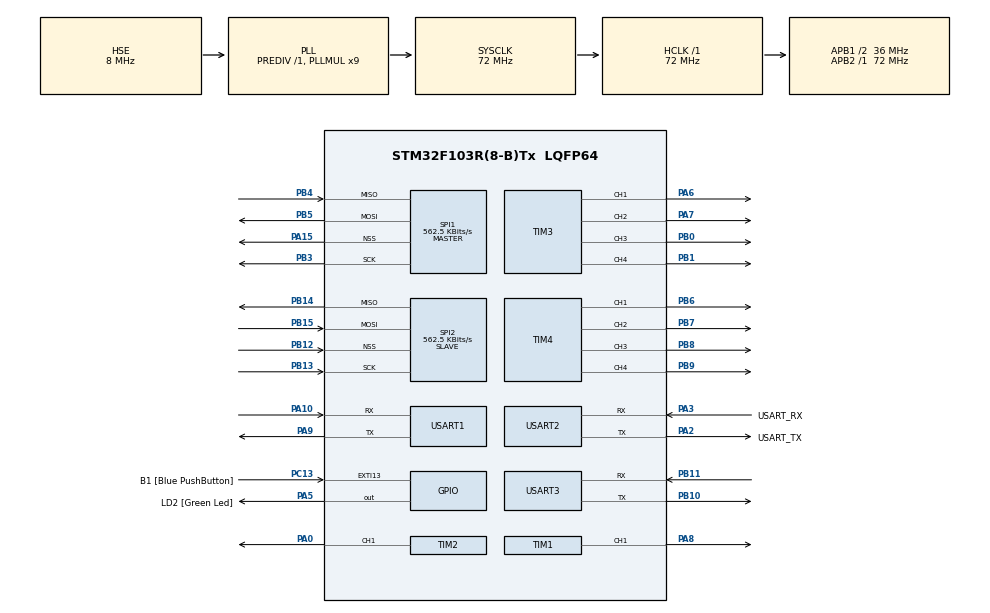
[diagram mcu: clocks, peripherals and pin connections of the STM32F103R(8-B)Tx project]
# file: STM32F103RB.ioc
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IWDG.Prescaler=IWDG_PRESCALER_32
Mcu.Family=STM32F1
Mcu.Name=STM32F103R(8-B)Tx
Mcu.Package=LQFP64
NVIC.PriorityGroup=NVIC_PRIORITYGROUP_4
NVIC.USART2_IRQn=true\:0\:0\:false\:false\:true\:true
PA0-WKUP.Signal=S_TIM2_CH1_ETR
PA10.Mode=Asynchronous
PA10.Signal=USART1_RX
PA13.GPIO_Label=TMS
PA13.Mode=Serial_Wire
PA13.Signal=SYS_JTMS-SWDIO
PA14.GPIO_Label=TCK
PA14.Mode=Serial_Wire
PA14.Signal=SYS_JTCK-SWCLK
PA15.Mode=NSS_Signal_Hard_Output
PA15.Signal=SPI1_NSS
PA2.GPIO_Label=USART_TX
PA2.GPIO_Mode=GPIO_MODE_AF_PP
PA2.GPIO_PuPd=GPIO_NOPULL
PA2.GPIO_Speed=GPIO_SPEED_FREQ_LOW
PA2.Mode=Asynchronous
PA2.Signal=USART2_TX
PA3.GPIO_Label=USART_RX
PA3.GPIO_Mode=GPIO_MODE_AF_PP
PA3.GPIO_PuPd=GPIO_NOPULL
PA3.GPIO_Speed=GPIO_SPEED_FREQ_LOW
PA3.Mode=Asynchronous
PA3.Signal=USART2_RX
PA5.GPIO_Label=LD2 [Green Led]
PA5.GPIO_ModeDefaultOutputPP=GPIO_MODE_OUTPUT_PP
PA5.GPIO_PuPd=GPIO_NOPULL
PA5.GPIO_Speed=GPIO_SPEED_FREQ_LOW
PA5.Signal=GPIO_Output
PA6.Signal=S_TIM3_CH1
PA7.Signal=S_TIM3_CH2
PA8.Signal=S_TIM1_CH1
PA9.Mode=Asynchronous
PA9.Signal=USART1_TX
PB0.Signal=S_TIM3_CH3
PB1.Signal=S_TIM3_CH4
PB10.Mode=Asynchronous
PB10.Signal=USART3_TX
PB11.Mode=Asynchronous
PB11.Signal=USART3_RX
PB12.Mode=NSS_Signal_Hard_Input
PB12.Signal=SPI2_NSS
PB13.Mode=Full_Duplex_Slave
PB13.Signal=SPI2_SCK
PB14.Mode=Full_Duplex_Slave
PB14.Signal=SPI2_MISO
PB15.Mode=Full_Duplex_Slave
PB15.Signal=SPI2_MOSI
PB3.Mode=Full_Duplex_Master
PB3.Signal=SPI1_SCK
PB4.Mode=Full_Duplex_Master
PB4.Signal=SPI1_MISO
PB5.Mode=Full_Duplex_Master
PB5.Signal=SPI1_MOSI
PB6.Signal=S_TIM4_CH1
PB7.Signal=S_TIM4_CH2
PB8.Signal=S_TIM4_CH3
PB9.Signal=S_TIM4_CH4
PC13-TAMPER-RTC.GPIO_Label=B1 [Blue PushButton]
PC13-TAMPER-RTC.GPIO_PuPd=GPIO_NOPULL
PC13-TAMPER-RTC.Signal=GPXTI13
PC14-OSC32_IN.Mode=LSE-External-Oscillator
PC14-OSC32_IN.Signal=RCC_OSC32_IN
PC15-OSC32_OUT.Mode=LSE-External-Oscillator
PC15-OSC32_OUT.Signal=RCC_OSC32_OUT
PD0-OSC_IN.Mode=HSE-External-Clock-Source
PD0-OSC_IN.Signal=RCC_OSC_IN
PD1-OSC_OUT.Mode=HSE-External-Clock-Source
PD1-OSC_OUT.Signal=RCC_OSC_OUT
ProjectManager.HeapSize=0x200
ProjectManager.StackSize=0x400
ProjectManager.TargetToolchain=MDK-ARM V5
RCC.AHBFreq_Value=72000000
RCC.APB1CLKDivider=RCC_HCLK_DIV2
RCC.APB1Freq_Value=36000000
RCC.APB1TimFreq_Value=72000000
RCC.APB2Freq_Value=72000000
RCC.APB2TimFreq_Value=72000000
RCC.HCLKFreq_Value=72000000
RCC.PLLMUL=RCC_PLL_MUL9
RCC.PLLSourceVirtual=RCC_PLLSOURCE_HSE
RCC.RTCClockSelection=RCC_RTCCLKSOURCE_LSE
RCC.SYSCLKFreq_VALUE=72000000
RCC.SYSCLKSource=RCC_SYSCLKSOURCE_PLLCLK
RCC.USBFreq_Value=72000000
SH.S_TIM1_CH1.0=TIM1_CH1,PWM Generation1 CH1
SH.S_TIM2_CH1_ETR.0=TIM2_CH1,PWM Generation1 CH1
SH.S_TIM3_CH1.0=TIM3_CH1,PWM Generation1 CH1
SH.S_TIM3_CH2.0=TIM3_CH2,PWM Generation2 CH2
SH.S_TIM3_CH3.0=TIM3_CH3,PWM Generation3 CH3
SH.S_TIM3_CH4.0=TIM3_CH4,PWM Generation4 CH4
SH.S_TIM4_CH1.0=TIM4_CH1,PWM Generation1 CH1
SH.S_TIM4_CH2.0=TIM4_CH2,PWM Generation2 CH2
SH.S_TIM4_CH3.0=TIM4_CH3,PWM Generation3 CH3
SH.S_TIM4_CH4.0=TIM4_CH4,PWM Generation4 CH4
SPI1.BaudRatePrescaler=SPI_BAUDRATEPRESCALER_128
SPI1.CalculateBaudRate=562.5 KBits/s
SPI1.Direction=SPI_DIRECTION_2LINES
SPI1.Mode=SPI_MODE_MASTER
SPI1.VirtualNSS=VM_NSSHARD
SPI1.VirtualType=VM_MASTER
SPI2.BaudRatePrescaler=SPI_BAUDRATEPRESCALER_64
SPI2.CalculateBaudRate=562.5 KBits/s
SPI2.Direction=SPI_DIRECTION_2LINES
SPI2.Mode=SPI_MODE_SLAVE
SPI2.VirtualNSS=VM_NSSHARD
SPI2.VirtualType=VM_SLAVE
TIM1.Channel-PWM\ Generation1\ CH1=TIM_CHANNEL_1
TIM1.Period=282
TIM1.Prescaler=256
TIM2.Channel-PWM\ Generation1\ CH1=TIM_CHANNEL_1
TIM2.Period=282
TIM2.Prescaler=256
TIM3.Channel-PWM\ Generation1\ CH1=TIM_CHANNEL_1
TIM3.Channel-PWM\ Generation2\ CH2=TIM_CHANNEL_2
TIM3.Channel-PWM\ Generation3\ CH3=TIM_CHANNEL_3
TIM3.Channel-PWM\ Generation4\ CH4=TIM_CHANNEL_4
TIM4.Channel-PWM\ Generation1\ CH1=TIM_CHANNEL_1
TIM4.Channel-PWM\ Generation2\ CH2=TIM_CHANNEL_2
TIM4.Channel-PWM\ Generation3\ CH3=TIM_CHANNEL_3
TIM4.Channel-PWM\ Generation4\ CH4=TIM_CHANNEL_4
USART1.VirtualMode=VM_ASYNC
USART2.VirtualMode=VM_ASYNC
USART3.VirtualMode=VM_ASYNC
VP_IWDG_VS_IWDG.Mode=IWDG_Activate
board=NUCLEO-F103RB

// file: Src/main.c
/**
  ******************************************************************************
  * @file           : main.c
  * @brief          : Main program body
  ******************************************************************************
  ** This notice applies to any and all portions of this file
  * that are not between comment pairs USER CODE BEGIN and
  * USER CODE END. Other portions of this file, whether
  * inserted by the user or by software development tools
  * are owned by their respective copyright owners.
  *
  * COPYRIGHT(c) 2018 STMicroelectronics
  *
  * Redistribution and use in source and binary forms, with or without modification,
  * are permitted provided that the following conditions are met:
  *   1. Redistributions of source code must retain the above copyright notice,
  *      this list of conditions and the following disclaimer.
  *   2. Redistributions in binary form must reproduce the above copyright notice,
  *      this list of conditions and the following disclaimer in the documentation
  *      and/or other materials provided with the distribution.
  *   3. Neither the name of STMicroelectronics nor the names of its contributors
  *      may be used to endorse or promote products derived from this software
  *      without specific prior written permission.
  *
  * THIS SOFTWARE IS PROVIDED BY THE COPYRIGHT HOLDERS AND CONTRIBUTORS "AS IS"
  * AND ANY EXPRESS OR IMPLIED WARRANTIES, INCLUDING, BUT NOT LIMITED TO, THE
  * IMPLIED WARRANTIES OF MERCHANTABILITY AND FITNESS FOR A PARTICULAR PURPOSE ARE
  * DISCLAIMED. IN NO EVENT SHALL THE COPYRIGHT HOLDER OR CONTRIBUTORS BE LIABLE
  * FOR ANY DIRECT, INDIRECT, INCIDENTAL, SPECIAL, EXEMPLARY, OR CONSEQUENTIAL
  * DAMAGES (INCLUDING, BUT NOT LIMITED TO, PROCUREMENT OF SUBSTITUTE GOODS OR
  * SERVICES; LOSS OF USE, DATA, OR PROFITS; OR BUSINESS INTERRUPTION) HOWEVER
  * CAUSED AND ON ANY THEORY OF LIABILITY, WHETHER IN CONTRACT, STRICT LIABILITY,
  * OR TORT (INCLUDING NEGLIGENCE OR OTHERWISE) ARISING IN ANY WAY OUT OF THE USE
  * OF THIS SOFTWARE, EVEN IF ADVISED OF THE POSSIBILITY OF SUCH DAMAGE.
  *
  ******************************************************************************
  */
#include "main.h"
#include "stm32f1xx_hal.h"

/* USER CODE BEGIN Includes */
#define GREEN_LED_PORT  GPIOA                //WRITTEN BY VINCENT
#define GREEN_LED_PIN   GPIO_PIN_5	         //WRITTEN BY VINCENT
#define BUTTON_PORT     GPIOC								 //WRITTEN BY VINCENT
#define BUTTON_PIN      GPIO_PIN_13					 //WRITTEN BY VINCENT
#include "stdbool.h"   //WRITTEN BY VINCENT => We want to use BOOLEAN TYPE

/* USER CODE END Includes */

IWDG_HandleTypeDef hiwdg;

SPI_HandleTypeDef hspi1;
SPI_HandleTypeDef hspi2;

TIM_HandleTypeDef htim1;
TIM_HandleTypeDef htim2;
TIM_HandleTypeDef htim3;
TIM_HandleTypeDef htim4;

UART_HandleTypeDef huart1;
UART_HandleTypeDef huart2;
UART_HandleTypeDef huart3;

/* USER CODE BEGIN PV */
/* Private variables ---------------------------------------------------------*/
bool flag = false;                           //WRITTEN BY VINCENT
bool ACTIVATE = false;                       //WRITTEN BY VINCENT

int timer_counter = 0;											 //WRITTEN BY VINCENT

uint8_t MESSAGE[3];                          //WRITTEN BY VINCENT , MESSAGE LENGTH LIMITED AS 3
uint8_t START[7] = "START\n\r"; 						 //WRITTEN BY VINCENT
uint8_t WTCDOG[25] = "WATCHDOG_TRIGGERED!\r\n";
uint8_t SPI_1_MSG[25] = "SPI1_MASTER_RX: ";
uint8_t SPI_2_MSG[25] = "SPI2_SLAVE_RX: ";
uint8_t NEW[2] = "\r\n";
uint8_t SPI_TX_BUFFER_1[8];
uint8_t SPI_RX_BUFFER_1[8];
uint8_t SPI_TX_BUFFER_2[8];
uint8_t SPI_RX_BUFFER_2[8];
/* USER CODE END PV */

void SystemClock_Config(void);
static void MX_GPIO_Init(void);
static void MX_USART2_UART_Init(void);
static void MX_TIM1_Init(void);
static void MX_TIM2_Init(void);
static void MX_IWDG_Init(void);
static void MX_SPI1_Init(void);
static void MX_TIM3_Init(void);
static void MX_TIM4_Init(void);
static void MX_USART1_UART_Init(void);
static void MX_USART3_UART_Init(void);
static void MX_SPI2_Init(void);

void HAL_TIM_MspPostInit(TIM_HandleTypeDef *htim);

/* USER CODE BEGIN PFP */
/* Private function prototypes -----------------------------------------------*/

/* USER CODE END PFP */

int main(void)
{

  /* MCU Configuration----------------------------------------------------------*/

  /* Reset of all peripherals, Initializes the Flash interface and the Systick. */
  HAL_Init();

  /* Configure the system clock */
  SystemClock_Config();

  /* Initialize all configured peripherals */
  MX_GPIO_Init();
  MX_USART2_UART_Init();
  MX_TIM1_Init();
  MX_TIM2_Init();
  MX_IWDG_Init();
  MX_SPI1_Init();
  MX_TIM3_Init();
  MX_TIM4_Init();
  MX_USART1_UART_Init();
  MX_USART3_UART_Init();
  MX_SPI2_Init();
  /* USER CODE BEGIN 2 */

  //*******************WRITTEN BY VINCENT********************************//
  /*
	  If you have some default setup, it is good to write here since this part
		is not included in the while(1) loop and all peripherals are initialized.
	*/
	__HAL_UART_ENABLE_IT(&huart2,UART_IT_RXNE);                     //USART2 RX INTERRUPT ENABLE
	HAL_TIM_Base_Start_IT(&htim2);                                  //TIMER INTERRUPT ENABLE
	HAL_GPIO_WritePin(GREEN_LED_PORT,GREEN_LED_PIN,GPIO_PIN_RESET); //Default ON BOARD LED IS OFF
	HAL_UART_Transmit(&huart2, START ,sizeof(START),100);           //SEND SOME TEXT SO YOU KNOW YOUR PROGRAM IS STARTED
  __HAL_RCC_SPI1_CLK_ENABLE();                                    //ENABLE SPI CLK
//*******************WRITTEN BY VINCENT********************************//

  /* USER CODE END 2 */

  /* Infinite loop */
  /* USER CODE BEGIN WHILE */
  while (1)
  {
	__HAL_UART_CLEAR_FLAG(&huart2,UART_FLAG_RXNE);
  //*******************WRITTEN BY VINCENT********************************//
	SPI_TX_BUFFER_1[0] = 'A';
	SPI_TX_BUFFER_1[1] = 'B';
	SPI_TX_BUFFER_1[2] = 'C';
	SPI_TX_BUFFER_1[3] = 'D';    //SPI1 MASTER
	SPI_TX_BUFFER_1[4] = 'E';    //JUST FILL STH INTO THE BUFFER TO SEND
	SPI_TX_BUFFER_1[5] = 'F';
	SPI_TX_BUFFER_1[6] = 'G';
	SPI_TX_BUFFER_1[7] = 'H';

	SPI_TX_BUFFER_2[0] = '1';
	SPI_TX_BUFFER_2[1] = '2';
	SPI_TX_BUFFER_2[2] = '3';
	SPI_TX_BUFFER_2[3] = '4';    //SPI2 SLAVE
	SPI_TX_BUFFER_2[4] = '5';    //JUST FILL STH INTO THE BUFFER TO SEND
	SPI_TX_BUFFER_2[5] = '6';
	SPI_TX_BUFFER_2[6] = '7';
	SPI_TX_BUFFER_2[7] = '8';

	HAL_SPI_TransmitReceive(&hspi1,SPI_TX_BUFFER_1,SPI_RX_BUFFER_1,sizeof(SPI_RX_BUFFER_1),1000); //MASTER
	HAL_SPI_TransmitReceive(&hspi2,SPI_TX_BUFFER_2,SPI_RX_BUFFER_2,sizeof(SPI_RX_BUFFER_2),1000);	//SLAVE

	HAL_UART_Transmit(&huart2,SPI_1_MSG,sizeof(SPI_1_MSG),500);
	HAL_UART_Transmit(&huart2,SPI_RX_BUFFER_1, sizeof(SPI_RX_BUFFER_1),500);  //DISPLAY SPI1 RX MESSAGE => 12345678
	HAL_UART_Transmit(&huart2,NEW,sizeof(NEW),200);

	HAL_Delay(300);

	HAL_UART_Transmit(&huart2,SPI_2_MSG,sizeof(SPI_2_MSG),500);
	HAL_UART_Transmit(&huart2,SPI_RX_BUFFER_2, sizeof(SPI_RX_BUFFER_2),500);  //DISPLAY SPI2 RX MESSAGE  => ABCDEFGH
	HAL_UART_Transmit(&huart2,NEW,sizeof(NEW),200);

	__HAL_TIM_SET_COMPARE(&htim2, TIM_CHANNEL_1,30);

	HAL_UART_Receive_IT(&huart2, MESSAGE,sizeof(MESSAGE));
  if (flag == true)
	{
		HAL_GPIO_TogglePin(GREEN_LED_PORT,GREEN_LED_PIN);   //THE LED WILL CHANGE STATE EVERY SECOND
		flag = false; //RESET THE FLAG
	}
	if (ACTIVATE == true)
	{
		while(1)
		{
			HAL_UART_Transmit(&huart2,WTCDOG,sizeof(WTCDOG),500); //DISPLAY WATCH DOG TRIGGER MESSAGE
		}  //INPUT 'DOG' WILL TRIGGER INFINITY LOOP
	}
	HAL_IWDG_Refresh(&hiwdg);    //Refresh Watchdog

	/*ABOUT IWWDG

	Prescalar divider:   PR:
	/4									 0
	/8                   1
	/16								   2
	/32									 3
	/64									 4
	/128								 5
	/256								 6

	You must refresh watchdog in T seconds

	where T = ( 4 x Prescalar_divider x 2^PR) / (LSI clocker frequency)

	**LSI = Low speed internal = 40kHz
	*/

	//*******************WRITTEN BY VINCENT********************************//

  /* USER CODE END WHILE */

  }

}

void SystemClock_Config(void)
{

  RCC_OscInitTypeDef RCC_OscInitStruct;
  RCC_ClkInitTypeDef RCC_ClkInitStruct;

    /**Initializes the CPU, AHB and APB busses clocks
    */
  RCC_OscInitStruct.OscillatorType = RCC_OSCILLATORTYPE_LSI|RCC_OSCILLATORTYPE_HSE;
  RCC_OscInitStruct.HSEState = RCC_HSE_BYPASS;
  RCC_OscInitStruct.HSEPredivValue = RCC_HSE_PREDIV_DIV1;
  RCC_OscInitStruct.HSIState = RCC_HSI_ON;
  RCC_OscInitStruct.LSIState = RCC_LSI_ON;
  RCC_OscInitStruct.PLL.PLLState = RCC_PLL_ON;
  RCC_OscInitStruct.PLL.PLLSource = RCC_PLLSOURCE_HSE;
  RCC_OscInitStruct.PLL.PLLMUL = RCC_PLL_MUL9;
  if (HAL_RCC_OscConfig(&RCC_OscInitStruct) != HAL_OK)
  {
    _Error_Handler(__FILE__, __LINE__);
  }

    /**Initializes the CPU, AHB and APB busses clocks
    */
  RCC_ClkInitStruct.ClockType = RCC_CLOCKTYPE_HCLK|RCC_CLOCKTYPE_SYSCLK
                              |RCC_CLOCKTYPE_PCLK1|RCC_CLOCKTYPE_PCLK2;
  RCC_ClkInitStruct.SYSCLKSource = RCC_SYSCLKSOURCE_PLLCLK;
  RCC_ClkInitStruct.AHBCLKDivider = RCC_SYSCLK_DIV1;
  RCC_ClkInitStruct.APB1CLKDivider = RCC_HCLK_DIV2;
  RCC_ClkInitStruct.APB2CLKDivider = RCC_HCLK_DIV1;

  if (HAL_RCC_ClockConfig(&RCC_ClkInitStruct, FLASH_LATENCY_2) != HAL_OK)
  {
    _Error_Handler(__FILE__, __LINE__);
  }

    /**Configure the Systick interrupt time
    */
  HAL_SYSTICK_Config(HAL_RCC_GetHCLKFreq()/1000);

    /**Configure the Systick
    */
  HAL_SYSTICK_CLKSourceConfig(SYSTICK_CLKSOURCE_HCLK);

  /* SysTick_IRQn interrupt configuration */
  HAL_NVIC_SetPriority(SysTick_IRQn, 0, 0);
}

/* IWDG init function */
static void MX_IWDG_Init(void)
{

  hiwdg.Instance = IWDG;
  hiwdg.Init.Prescaler = IWDG_PRESCALER_32;
  hiwdg.Init.Reload = 4095;
  if (HAL_IWDG_Init(&hiwdg) != HAL_OK)
  {
    _Error_Handler(__FILE__, __LINE__);
  }

}

/* SPI1 init function */
static void MX_SPI1_Init(void)
{

  /* SPI1 parameter configuration*/
  hspi1.Instance = SPI1;
  hspi1.Init.Mode = SPI_MODE_MASTER;
  hspi1.Init.Direction = SPI_DIRECTION_2LINES;
  hspi1.Init.DataSize = SPI_DATASIZE_8BIT;
  hspi1.Init.CLKPolarity = SPI_POLARITY_LOW;
  hspi1.Init.CLKPhase = SPI_PHASE_1EDGE;
  hspi1.Init.NSS = SPI_NSS_HARD_OUTPUT;
  hspi1.Init.BaudRatePrescaler = SPI_BAUDRATEPRESCALER_128;
  hspi1.Init.FirstBit = SPI_FIRSTBIT_MSB;
  hspi1.Init.TIMode = SPI_TIMODE_DISABLE;
  hspi1.Init.CRCCalculation = SPI_CRCCALCULATION_DISABLE;
  hspi1.Init.CRCPolynomial = 10;
  if (HAL_SPI_Init(&hspi1) != HAL_OK)
  {
    _Error_Handler(__FILE__, __LINE__);
  }

}

/* SPI2 init function */
static void MX_SPI2_Init(void)
{

  /* SPI2 parameter configuration*/
  hspi2.Instance = SPI2;
  hspi2.Init.Mode = SPI_MODE_SLAVE;
  hspi2.Init.Direction = SPI_DIRECTION_2LINES;
  hspi2.Init.DataSize = SPI_DATASIZE_8BIT;
  hspi2.Init.CLKPolarity = SPI_POLARITY_LOW;
  hspi2.Init.CLKPhase = SPI_PHASE_1EDGE;
  hspi2.Init.NSS = SPI_NSS_HARD_INPUT;
  hspi2.Init.BaudRatePrescaler = SPI_BAUDRATEPRESCALER_64;
  hspi2.Init.FirstBit = SPI_FIRSTBIT_MSB;
  hspi2.Init.TIMode = SPI_TIMODE_DISABLE;
  hspi2.Init.CRCCalculation = SPI_CRCCALCULATION_DISABLE;
  hspi2.Init.CRCPolynomial = 10;
  if (HAL_SPI_Init(&hspi2) != HAL_OK)
  {
    _Error_Handler(__FILE__, __LINE__);
  }

}

/* TIM1 init function */
static void MX_TIM1_Init(void)
{

  TIM_MasterConfigTypeDef sMasterConfig;
  TIM_OC_InitTypeDef sConfigOC;
  TIM_BreakDeadTimeConfigTypeDef sBreakDeadTimeConfig;

  htim1.Instance = TIM1;
  htim1.Init.Prescaler = 256;
  htim1.Init.CounterMode = TIM_COUNTERMODE_UP;
  htim1.Init.Period = 282;
  htim1.Init.ClockDivision = TIM_CLOCKDIVISION_DIV1;
  htim1.Init.RepetitionCounter = 0;
  htim1.Init.AutoReloadPreload = TIM_AUTORELOAD_PRELOAD_DISABLE;
  if (HAL_TIM_PWM_Init(&htim1) != HAL_OK)
  {
    _Error_Handler(__FILE__, __LINE__);
  }

  sMasterConfig.MasterOutputTrigger = TIM_TRGO_RESET;
  sMasterConfig.MasterSlaveMode = TIM_MASTERSLAVEMODE_DISABLE;
  if (HAL_TIMEx_MasterConfigSynchronization(&htim1, &sMasterConfig) != HAL_OK)
  {
    _Error_Handler(__FILE__, __LINE__);
  }

  sConfigOC.OCMode = TIM_OCMODE_PWM1;
  sConfigOC.Pulse = 0;
  sConfigOC.OCPolarity = TIM_OCPOLARITY_HIGH;
  sConfigOC.OCNPolarity = TIM_OCNPOLARITY_HIGH;
  sConfigOC.OCFastMode = TIM_OCFAST_DISABLE;
  sConfigOC.OCIdleState = TIM_OCIDLESTATE_RESET;
  sConfigOC.OCNIdleState = TIM_OCNIDLESTATE_RESET;
  if (HAL_TIM_PWM_ConfigChannel(&htim1, &sConfigOC, TIM_CHANNEL_1) != HAL_OK)
  {
    _Error_Handler(__FILE__, __LINE__);
  }

  sBreakDeadTimeConfig.OffStateRunMode = TIM_OSSR_DISABLE;
  sBreakDeadTimeConfig.OffStateIDLEMode = TIM_OSSI_DISABLE;
  sBreakDeadTimeConfig.LockLevel = TIM_LOCKLEVEL_OFF;
  sBreakDeadTimeConfig.DeadTime = 0;
  sBreakDeadTimeConfig.BreakState = TIM_BREAK_DISABLE;
  sBreakDeadTimeConfig.BreakPolarity = TIM_BREAKPOLARITY_HIGH;
  sBreakDeadTimeConfig.AutomaticOutput = TIM_AUTOMATICOUTPUT_DISABLE;
  if (HAL_TIMEx_ConfigBreakDeadTime(&htim1, &sBreakDeadTimeConfig) != HAL_OK)
  {
    _Error_Handler(__FILE__, __LINE__);
  }

  HAL_TIM_MspPostInit(&htim1);

}

/* TIM2 init function */
static void MX_TIM2_Init(void)
{

  TIM_MasterConfigTypeDef sMasterConfig;
  TIM_OC_InitTypeDef sConfigOC;

  htim2.Instance = TIM2;
  htim2.Init.Prescaler = 256;
  htim2.Init.CounterMode = TIM_COUNTERMODE_UP;
  htim2.Init.Period = 282;
  htim2.Init.ClockDivision = TIM_CLOCKDIVISION_DIV1;
  htim2.Init.AutoReloadPreload = TIM_AUTORELOAD_PRELOAD_DISABLE;
  if (HAL_TIM_PWM_Init(&htim2) != HAL_OK)
  {
    _Error_Handler(__FILE__, __LINE__);
  }

  sMasterConfig.MasterOutputTrigger = TIM_TRGO_RESET;
  sMasterConfig.MasterSlaveMode = TIM_MASTERSLAVEMODE_DISABLE;
  if (HAL_TIMEx_MasterConfigSynchronization(&htim2, &sMasterConfig) != HAL_OK)
  {
    _Error_Handler(__FILE__, __LINE__);
  }

  sConfigOC.OCMode = TIM_OCMODE_PWM1;
  sConfigOC.Pulse = 0;
  sConfigOC.OCPolarity = TIM_OCPOLARITY_HIGH;
  sConfigOC.OCFastMode = TIM_OCFAST_DISABLE;
  if (HAL_TIM_PWM_ConfigChannel(&htim2, &sConfigOC, TIM_CHANNEL_1) != HAL_OK)
  {
    _Error_Handler(__FILE__, __LINE__);
  }

  HAL_TIM_MspPostInit(&htim2);

}

/* TIM3 init function */
static void MX_TIM3_Init(void)
{

  TIM_MasterConfigTypeDef sMasterConfig;
  TIM_OC_InitTypeDef sConfigOC;

  htim3.Instance = TIM3;
  htim3.Init.Prescaler = 0;
  htim3.Init.CounterMode = TIM_COUNTERMODE_UP;
  htim3.Init.Period = 0;
  htim3.Init.ClockDivision = TIM_CLOCKDIVISION_DIV1;
  htim3.Init.AutoReloadPreload = TIM_AUTORELOAD_PRELOAD_DISABLE;
  if (HAL_TIM_PWM_Init(&htim3) != HAL_OK)
  {
    _Error_Handler(__FILE__, __LINE__);
  }

  sMasterConfig.MasterOutputTrigger = TIM_TRGO_RESET;
  sMasterConfig.MasterSlaveMode = TIM_MASTERSLAVEMODE_DISABLE;
  if (HAL_TIMEx_MasterConfigSynchronization(&htim3, &sMasterConfig) != HAL_OK)
  {
    _Error_Handler(__FILE__, __LINE__);
  }

  sConfigOC.OCMode = TIM_OCMODE_PWM1;
  sConfigOC.Pulse = 0;
  sConfigOC.OCPolarity = TIM_OCPOLARITY_HIGH;
  sConfigOC.OCFastMode = TIM_OCFAST_DISABLE;
  if (HAL_TIM_PWM_ConfigChannel(&htim3, &sConfigOC, TIM_CHANNEL_1) != HAL_OK)
  {
    _Error_Handler(__FILE__, __LINE__);
  }

  if (HAL_TIM_PWM_ConfigChannel(&htim3, &sConfigOC, TIM_CHANNEL_2) != HAL_OK)
  {
    _Error_Handler(__FILE__, __LINE__);
  }

  if (HAL_TIM_PWM_ConfigChannel(&htim3, &sConfigOC, TIM_CHANNEL_3) != HAL_OK)
  {
    _Error_Handler(__FILE__, __LINE__);
  }

  if (HAL_TIM_PWM_ConfigChannel(&htim3, &sConfigOC, TIM_CHANNEL_4) != HAL_OK)
  {
    _Error_Handler(__FILE__, __LINE__);
  }

  HAL_TIM_MspPostInit(&htim3);

}

/* TIM4 init function */
static void MX_TIM4_Init(void)
{

  TIM_MasterConfigTypeDef sMasterConfig;
  TIM_OC_InitTypeDef sConfigOC;

  htim4.Instance = TIM4;
  htim4.Init.Prescaler = 0;
  htim4.Init.CounterMode = TIM_COUNTERMODE_UP;
  htim4.Init.Period = 0;
  htim4.Init.ClockDivision = TIM_CLOCKDIVISION_DIV1;
  htim4.Init.AutoReloadPreload = TIM_AUTORELOAD_PRELOAD_DISABLE;
  if (HAL_TIM_PWM_Init(&htim4) != HAL_OK)
  {
    _Error_Handler(__FILE__, __LINE__);
  }

  sMasterConfig.MasterOutputTrigger = TIM_TRGO_RESET;
  sMasterConfig.MasterSlaveMode = TIM_MASTERSLAVEMODE_DISABLE;
  if (HAL_TIMEx_MasterConfigSynchronization(&htim4, &sMasterConfig) != HAL_OK)
  {
    _Error_Handler(__FILE__, __LINE__);
  }

  sConfigOC.OCMode = TIM_OCMODE_PWM1;
  sConfigOC.Pulse = 0;
  sConfigOC.OCPolarity = TIM_OCPOLARITY_HIGH;
  sConfigOC.OCFastMode = TIM_OCFAST_DISABLE;
  if (HAL_TIM_PWM_ConfigChannel(&htim4, &sConfigOC, TIM_CHANNEL_1) != HAL_OK)
  {
    _Error_Handler(__FILE__, __LINE__);
  }

  if (HAL_TIM_PWM_ConfigChannel(&htim4, &sConfigOC, TIM_CHANNEL_2) != HAL_OK)
  {
    _Error_Handler(__FILE__, __LINE__);
  }

  if (HAL_TIM_PWM_ConfigChannel(&htim4, &sConfigOC, TIM_CHANNEL_3) != HAL_OK)
  {
    _Error_Handler(__FILE__, __LINE__);
  }

  if (HAL_TIM_PWM_ConfigChannel(&htim4, &sConfigOC, TIM_CHANNEL_4) != HAL_OK)
  {
    _Error_Handler(__FILE__, __LINE__);
  }

  HAL_TIM_MspPostInit(&htim4);

}

/* USART1 init function */
static void MX_USART1_UART_Init(void)
{

  huart1.Instance = USART1;
  huart1.Init.BaudRate = 115200;
  huart1.Init.WordLength = UART_WORDLENGTH_8B;
  huart1.Init.StopBits = UART_STOPBITS_1;
  huart1.Init.Parity = UART_PARITY_NONE;
  huart1.Init.Mode = UART_MODE_TX_RX;
  huart1.Init.HwFlowCtl = UART_HWCONTROL_NONE;
  huart1.Init.OverSampling = UART_OVERSAMPLING_16;
  if (HAL_UART_Init(&huart1) != HAL_OK)
  {
    _Error_Handler(__FILE__, __LINE__);
  }

}

/* USART2 init function */
static void MX_USART2_UART_Init(void)
{

  huart2.Instance = USART2;
  huart2.Init.BaudRate = 115200;
  huart2.Init.WordLength = UART_WORDLENGTH_8B;
  huart2.Init.StopBits = UART_STOPBITS_1;
  huart2.Init.Parity = UART_PARITY_NONE;
  huart2.Init.Mode = UART_MODE_TX_RX;
  huart2.Init.HwFlowCtl = UART_HWCONTROL_NONE;
  huart2.Init.OverSampling = UART_OVERSAMPLING_16;
  if (HAL_UART_Init(&huart2) != HAL_OK)
  {
    _Error_Handler(__FILE__, __LINE__);
  }

}

/* USART3 init function */
static void MX_USART3_UART_Init(void)
{

  huart3.Instance = USART3;
  huart3.Init.BaudRate = 115200;
  huart3.Init.WordLength = UART_WORDLENGTH_8B;
  huart3.Init.StopBits = UART_STOPBITS_1;
  huart3.Init.Parity = UART_PARITY_NONE;
  huart3.Init.Mode = UART_MODE_TX_RX;
  huart3.Init.HwFlowCtl = UART_HWCONTROL_NONE;
  huart3.Init.OverSampling = UART_OVERSAMPLING_16;
  if (HAL_UART_Init(&huart3) != HAL_OK)
  {
    _Error_Handler(__FILE__, __LINE__);
  }

}

/** Configure pins as
        * Analog
        * Input
        * Output
        * EVENT_OUT
        * EXTI
*/
static void MX_GPIO_Init(void)
{

  GPIO_InitTypeDef GPIO_InitStruct;

  /* GPIO Ports Clock Enable */
  __HAL_RCC_GPIOC_CLK_ENABLE();
  __HAL_RCC_GPIOD_CLK_ENABLE();
  __HAL_RCC_GPIOA_CLK_ENABLE();
  __HAL_RCC_GPIOB_CLK_ENABLE();

  /*Configure GPIO pin Output Level */
  HAL_GPIO_WritePin(LD2_GPIO_Port, LD2_Pin, GPIO_PIN_RESET);

  /*Configure GPIO pin : B1_Pin */
  GPIO_InitStruct.Pin = B1_Pin;
  GPIO_InitStruct.Mode = GPIO_MODE_IT_RISING;
  GPIO_InitStruct.Pull = GPIO_NOPULL;
  HAL_GPIO_Init(B1_GPIO_Port, &GPIO_InitStruct);

  /*Configure GPIO pin : LD2_Pin */
  GPIO_InitStruct.Pin = LD2_Pin;
  GPIO_InitStruct.Mode = GPIO_MODE_OUTPUT_PP;
  GPIO_InitStruct.Speed = GPIO_SPEED_FREQ_LOW;
  HAL_GPIO_Init(LD2_GPIO_Port, &GPIO_InitStruct);

}

/* USER CODE BEGIN 4 */
void HAL_TIM_PeriodElapsedCallback(TIM_HandleTypeDef *htim)
{
	if(htim == &htim2)
	{
	  timer_counter++;  //  Interval = 0.001 second
		if (timer_counter == 1000)
		{
			flag = true;
			timer_counter = 0; //RESET timer_counter to recount again
		}

	}
}

void HAL_UART_RxCpltCallback(UART_HandleTypeDef *huart)
{
  UNUSED(huart);
	if (huart == &huart2)
	{
		if ((MESSAGE[0] == 'D')&& (MESSAGE[1] == 'O')&&(MESSAGE[2] == 'G'))
	  {
		  ACTIVATE = true;
	  }
  }
}
/* USER CODE END 4 */

void _Error_Handler(char *file, int line)
{
  while(1)
  {
  }
}

/************************ (C) COPYRIGHT STMicroelectronics *****END OF FILE****/
